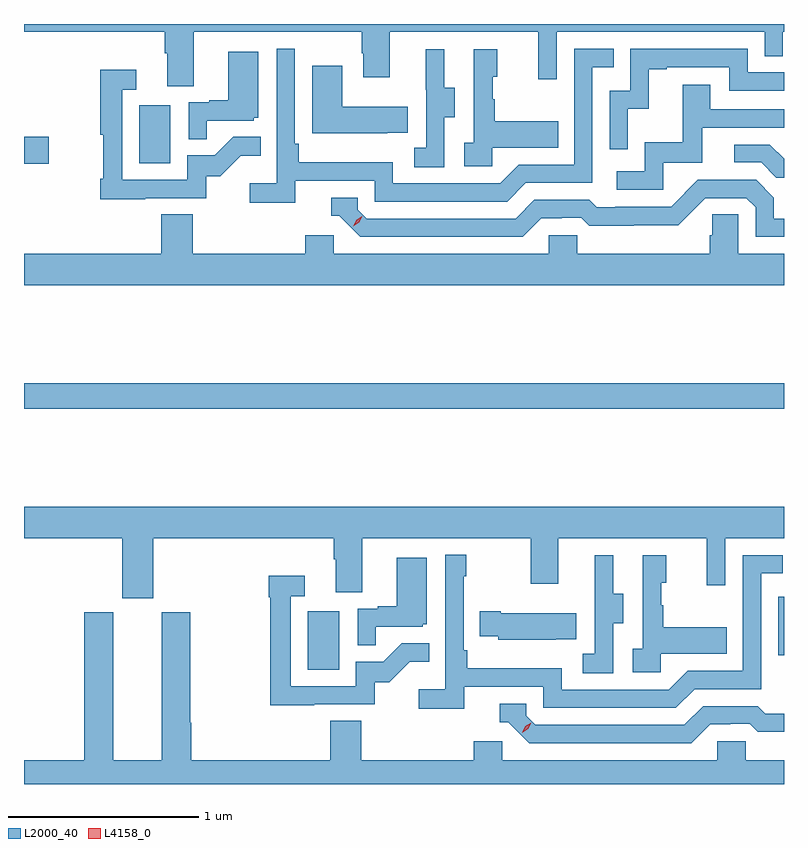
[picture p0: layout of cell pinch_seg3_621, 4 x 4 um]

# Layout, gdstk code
import gdstk
lib = gdstk.Library(unit=1e-6, precision=1e-09)
def R(c, l, rs):  # rectangles x0, y0, x1, y1
    for r in rs: c.add(gdstk.rectangle(r[:2], r[2:], *l))
def P(c, l, *ps):  # polygons
    for p in ps: c.add(gdstk.Polygon(p, *l))
L2000_40 = (2000, 40)
L4158_0 = (4158, 0)

pinch_seg3_621 = lib.new_cell('pinch_seg3_621')
R(pinch_seg3_621, L2000_40, [(1037.114,680.244,1037.278,680.551), (1039.59,680.319,1039.62,680.628), (1035.62,681.616,1039.62,681.752), (1035.62,682.906,1035.751,683.048), (1036.226,682.908,1036.39,683.215)])
P(pinch_seg3_621, L2000_40, [(1036.513,683.6),(1037.398,683.6),(1037.398,683.489),(1037.405,683.489),(1037.405,683.361),(1037.545,683.361),(1037.545,683.6),(1038.326,683.6),(1038.326,683.352),(1038.423,683.352),(1038.423,683.6),(1039.518,683.6),(1039.518,683.473),(1039.614,683.473),(1039.614,683.6),(1039.62,683.6),(1039.62,683.642),(1035.62,683.642),(1035.62,683.6),(1036.361,683.6),(1036.361,683.488),(1036.373,683.488),(1036.373,683.314),(1036.513,683.314)],
  [(1037.048,682.818),(1037.466,682.818),(1037.466,682.707),(1038.163,682.707),(1038.262,682.806),(1038.612,682.806),(1038.612,683.415),(1038.725,683.415),(1038.725,683.511),(1038.516,683.511),(1038.516,682.902),(1038.225,682.902),(1038.126,682.803),(1037.562,682.803),(1037.562,682.915),(1037.066,682.915),(1037.066,683.011),(1037.046,683.011),(1037.046,683.512),(1036.95,683.512),(1036.95,682.804),(1036.809,682.804),(1036.809,682.702),(1037.048,682.702)],
  [(1038.798,683.195),(1038.908,683.195),(1038.908,683.403),(1039.003,683.403),(1039.003,683.415),(1039.332,683.415),(1039.332,683.292),(1039.62,683.292),(1039.62,683.388),(1039.428,683.388),(1039.428,683.511),(1038.81,683.511),(1038.81,683.292),(1038.702,683.292),(1038.702,682.983),(1038.798,682.983)],
  [(1038.084,682.991),(1038.431,682.991),(1038.431,683.131),(1038.097,683.131),(1038.097,683.246),(1038.087,683.246),(1038.087,683.364),(1038.112,683.364),(1038.112,683.509),(1037.988,683.509),(1037.988,683.018),(1037.937,683.018),(1037.937,682.893),(1038.084,682.893)],
  [(1037.832,683.152),(1037.887,683.152),(1037.887,683.307),(1037.833,683.307),(1037.833,683.509),(1037.735,683.509),(1037.735,683.295),(1037.736,683.295),(1037.736,682.991),(1037.673,682.991),(1037.673,682.888),(1037.832,682.888)],
  [(1036.583,683.133),(1036.83,683.133),(1036.83,683.148),(1036.852,683.148),(1036.852,683.497),(1036.694,683.497),(1036.694,683.242),(1036.595,683.242),(1036.595,683.229),(1036.488,683.229),(1036.488,683.035),(1036.583,683.035)],
  [(1037.531,683.069),(1037.639,683.069),(1037.639,683.206),(1037.296,683.206),(1037.296,683.422),(1037.138,683.422),(1037.138,683.066),(1037.531,683.066)],
  [(1036.259,682.725),(1036.578,682.725),(1036.578,682.842),(1036.654,682.842),(1036.761,682.949),(1036.865,682.949),(1036.865,683.048),(1036.721,683.048),(1036.623,682.95),(1036.479,682.95),(1036.479,682.821),(1036.137,682.821),(1036.137,683.295),(1036.21,683.295),(1036.21,683.401),(1036.021,683.401),(1036.021,683.058),(1036.036,683.058),(1036.036,682.828),(1036.021,682.828),(1036.021,682.72),(1036.259,682.72)],
  [(1038.984,682.911),(1039.189,682.911),(1039.189,683.097),(1039.62,683.097),(1039.62,683.193),(1039.231,683.193),(1039.231,683.323),(1039.087,683.323),(1039.087,683.02),(1038.888,683.02),(1038.888,682.866),(1038.741,682.866),(1038.741,682.77),(1038.984,682.77)],
  [(1039.62,682.933),(1039.546,683.007),(1039.359,683.007),(1039.359,682.914),(1039.5,682.914),(1039.58,682.834),(1039.62,682.834)],
  [(1038.343,682.62),(1038.45,682.62),(1038.45,682.623),(1038.553,682.623),(1038.595,682.581),(1038.828,682.581),(1038.828,682.583),(1039.064,682.583),(1039.206,682.725),(1039.422,682.725),(1039.47,682.677),(1039.47,682.521),(1039.62,682.521),(1039.62,682.617),(1039.567,682.617),(1039.567,682.727),(1039.473,682.821),(1039.167,682.821),(1039.026,682.68),(1038.733,682.68),(1038.733,682.677),(1038.634,682.677),(1038.595,682.716),(1038.306,682.716),(1038.207,682.617),(1037.424,682.617),(1037.376,682.665),(1037.376,682.728),(1037.237,682.728),(1037.237,682.632),(1037.28,682.632),(1037.391,682.521),(1038.244,682.521)],
  [(1039.62,682.432),(1039.38,682.432),(1039.38,682.64),(1039.243,682.64),(1039.243,682.53),(1039.228,682.53),(1039.228,682.432),(1038.531,682.432),(1038.531,682.53),(1038.381,682.53),(1038.381,682.432),(1037.25,682.432),(1037.25,682.53),(1037.099,682.53),(1037.099,682.432),(1036.507,682.432),(1036.507,682.64),(1036.343,682.64),(1036.343,682.432),(1035.62,682.432),(1035.62,682.268),(1039.62,682.268)],
  [(1036.3,680.936),(1037.249,680.936),(1037.249,680.824),(1037.261,680.824),(1037.261,680.65),(1037.401,680.65),(1037.401,680.936),(1038.286,680.936),(1038.286,680.697),(1038.433,680.697),(1038.433,680.936),(1039.214,680.936),(1039.214,680.688),(1039.311,680.688),(1039.311,680.936),(1039.62,680.936),(1039.62,681.1),(1035.62,681.1),(1035.62,680.936),(1036.136,680.936),(1036.136,680.619),(1036.3,680.619)],
  [(1037.936,680.154),(1038.354,680.154),(1038.354,680.043),(1039.051,680.043),(1039.15,680.142),(1039.5,680.142),(1039.5,680.751),(1039.613,680.751),(1039.613,680.847),(1039.404,680.847),(1039.404,680.238),(1039.113,680.238),(1039.014,680.139),(1038.45,680.139),(1038.45,680.251),(1037.954,680.251),(1037.954,680.347),(1037.934,680.347),(1037.934,680.735),(1037.947,680.735),(1037.947,680.848),(1037.838,680.848),(1037.838,680.14),(1037.697,680.14),(1037.697,680.038),(1037.936,680.038)],
  [(1038.972,680.327),(1039.319,680.327),(1039.319,680.467),(1038.985,680.467),(1038.985,680.582),(1038.975,680.582),(1038.975,680.7),(1039,680.7),(1039,680.845),(1038.876,680.845),(1038.876,680.354),(1038.825,680.354),(1038.825,680.229),(1038.972,680.229)],
  [(1038.72,680.488),(1038.775,680.488),(1038.775,680.643),(1038.721,680.643),(1038.721,680.845),(1038.623,680.845),(1038.623,680.631),(1038.624,680.631),(1038.624,680.327),(1038.561,680.327),(1038.561,680.224),(1038.72,680.224)],
  [(1037.471,680.469),(1037.718,680.469),(1037.718,680.484),(1037.74,680.484),(1037.74,680.833),(1037.582,680.833),(1037.582,680.578),(1037.483,680.578),(1037.483,680.565),(1037.376,680.565),(1037.376,680.371),(1037.471,680.371)],
  [(1037.147,680.061),(1037.466,680.061),(1037.466,680.178),(1037.542,680.178),(1037.649,680.285),(1037.753,680.285),(1037.753,680.384),(1037.609,680.384),(1037.511,680.286),(1037.367,680.286),(1037.367,680.157),(1037.025,680.157),(1037.025,680.631),(1037.098,680.631),(1037.098,680.737),(1036.909,680.737),(1036.909,680.624),(1036.917,680.624),(1036.917,680.056),(1037.147,680.056)],
  [(1038.419,680.405),(1038.527,680.405),(1038.527,680.542),(1038.13,680.542),(1038.13,680.55),(1038.019,680.55),(1038.019,680.42),(1038.117,680.42),(1038.117,680.402),(1038.419,680.402)],
  [(1039.62,679.768),(1039.419,679.768),(1039.419,679.866),(1039.269,679.866),(1039.269,679.768),(1038.138,679.768),(1038.138,679.866),(1037.987,679.866),(1037.987,679.768),(1037.396,679.768),(1037.396,679.976),(1037.231,679.976),(1037.231,679.768),(1036.499,679.768),(1036.499,679.964),(1036.494,679.964),(1036.494,680.547),(1036.346,680.547),(1036.346,679.768),(1036.09,679.768),(1036.09,680.547),(1035.938,680.547),(1035.938,679.768),(1035.62,679.768),(1035.62,679.642),(1039.62,679.642)],
  [(1039.231,679.956),(1039.338,679.956),(1039.338,679.959),(1039.441,679.959),(1039.483,679.917),(1039.62,679.917),(1039.62,680.013),(1039.522,680.013),(1039.483,680.052),(1039.194,680.052),(1039.095,679.953),(1038.312,679.953),(1038.264,680.001),(1038.264,680.064),(1038.125,680.064),(1038.125,679.968),(1038.168,679.968),(1038.279,679.857),(1039.132,679.857)])
P(pinch_seg3_621, L4158_0, [(1037.354,682.578),(1037.354,682.578),(1037.37,682.611),(1037.4,682.631),(1037.4,682.631),(1037.4,682.63),(1037.385,682.598),(1037.354,682.578)],
  [(1038.243,679.913),(1038.243,679.913),(1038.259,679.946),(1038.29,679.965),(1038.29,679.965),(1038.29,679.965),(1038.274,679.932),(1038.243,679.913)])

lib.write_gds('pinch_seg3_621.gds')
